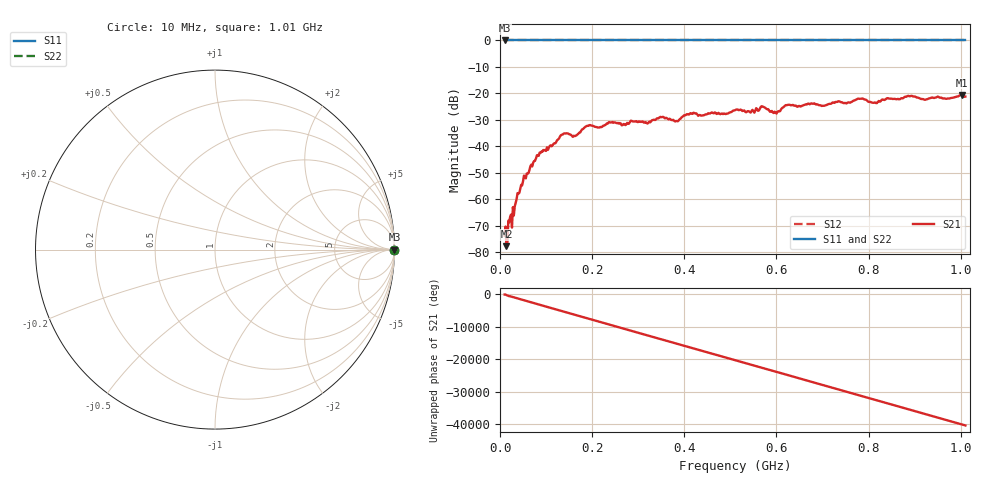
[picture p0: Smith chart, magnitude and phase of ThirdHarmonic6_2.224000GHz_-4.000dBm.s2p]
! 8/17/2025 2:28:46 AM
! C:\ANRITSUVNA\TEMP\TEMP.S2P
! CHANNEL.1
! TR.MEASUREMENT
! RAW.DATA
! RF.CORRECTION.OFF
! AVERAGING.OFF
! IF.BANDWIDTH: 5KHZ
! SWEEPTYPE:  FREQ.SWEEP(Linear)
! Reference Plane Port Info
! PORT:  PORT1  PORT2
! DISTANCE:  0  m  0  m
! TIME:  0  s  0  s
! PHASE.OFFSET:  0  deg.  0  deg.
! LOSS:  0  dB  0  dB
! REF.LOSS:  0  dB  0  dB
! REF.FREQ:  0  Hz  0  Hz
! Power Info
! POWER:  -20  dBm  -20  dBm
! EFF.POWER:  -20  dBm  -20  dBm
! SOURCE.ATTEN:  0  dB  0  dB
! TEST.ATTEN:  0  dB  0  dB
# GHZ S RI R 50.0
! FREQ.GHZ  S11RE  S11IM  S21RE  S21IM  S12RE  S12IM  S22RE  S22IM
!; PortSelection: Port_12
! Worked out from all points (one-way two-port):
!   501 points, 10 MHz to 1.01 GHz, reference 50 ohm
!   highest |S21| = -20.60 dB at 1.002 GHz (marker M1); lowest = -77.8 dB at 14 MHz (marker M2)
!   lowest |S11| = 0.0 dB at 10 MHz (marker M3)
!   |S11| at or under -10 dB: nowhere
!   |S22| runs from 0.0 to 0.0 dB; largest |S21 - S12| = 1.1
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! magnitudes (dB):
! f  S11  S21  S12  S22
! 10 MHz  0.0  -73.8  0.0  0.0
! 14 MHz  0.0  -77.8  0.0  0.0
! 50 MHz  0.0  -53.2  0.0  0.0
! 82 MHz  0.0  -43.3  0.0  0.0
! 136 MHz  0.0  -35.6  0.0  0.0
! 162 MHz  0.0  -36.2  0.0  0.0
! 178 MHz  0.0  -33.6  0.0  0.0
! 192 MHz  0.0  -32.3  0.0  0.0
! 322 MHz  0.0  -31.1  0.0  0.0
! 344 MHz  0.0  -29.4  0.0  0.0
! 382 MHz  0.0  -30.5  0.0  0.0
! 416 MHz  0.0  -27.7  0.0  0.0
! 510 MHz  0.0  -26.4  0.0  0.0
! 548 MHz  0.0  -26.2  0.0  0.0
! 570 MHz  0.0  -25.0  0.0  0.0
! 596 MHz  0.0  -26.9  0.0  0.0
! 624 MHz  0.0  -24.4  0.0  0.0
! 678 MHz  0.0  -23.9  0.0  0.0
! 814 MHz  0.0  -23.4  0.0  0.0
! 844 MHz  0.0  -22.0  0.0  0.0
! 1.002 GHz  0.0  -20.6  0.0  0.0
! 1.01 GHz  0.0  -21.2  0.0  0.0
